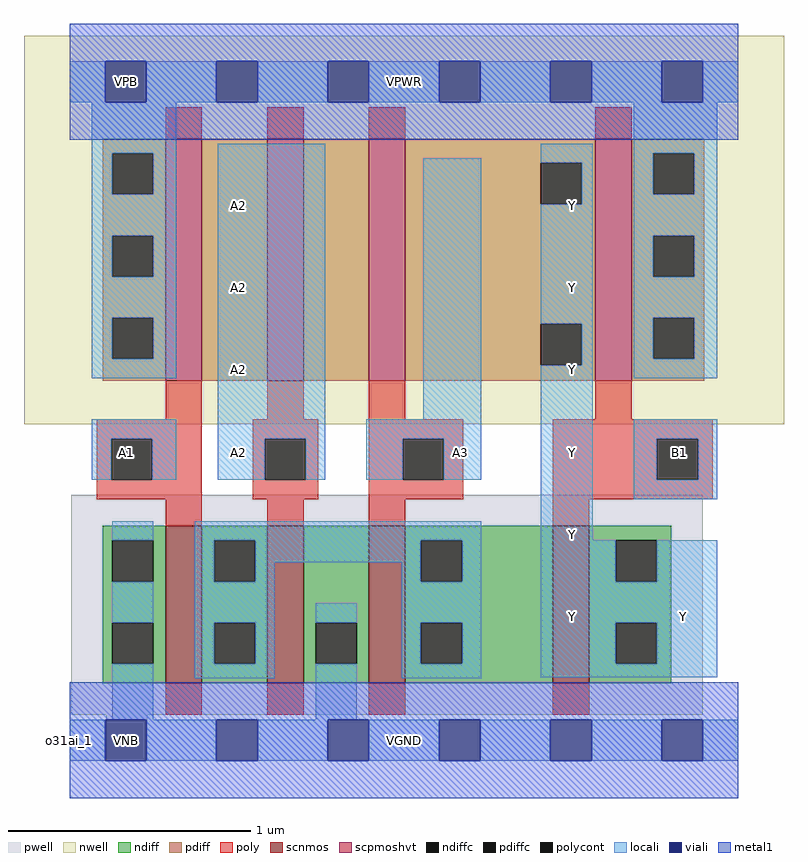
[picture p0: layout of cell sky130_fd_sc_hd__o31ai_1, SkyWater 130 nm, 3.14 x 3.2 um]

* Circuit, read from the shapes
.subckt sky130_fd_sc_hd__o31ai_1 A1 A2 A3 B1 VGND VNB VPB VPWR Y
XM1 n1 A1 VGND VNB sky130_fd_pr__nfet_01v8 w=0.65 l=0.15
XM2 VGND A2 n1 VNB sky130_fd_pr__nfet_01v8 w=0.65 l=0.15
XM3 n1 A3 VGND VNB sky130_fd_pr__nfet_01v8 w=0.65 l=0.15
XM4 Y B1 n1 VNB sky130_fd_pr__nfet_01v8 w=0.65 l=0.15
XM5 n2 A1 VPWR VPB sky130_fd_pr__pfet_01v8_hvt w=1 l=0.15
XM6 n3 A2 n2 VPB sky130_fd_pr__pfet_01v8_hvt w=1 l=0.15
XM7 Y A3 n3 VPB sky130_fd_pr__pfet_01v8_hvt w=1 l=0.15
XM8 VPWR B1 Y VPB sky130_fd_pr__pfet_01v8_hvt w=1 l=0.15
.ends

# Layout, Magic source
magic
tech sky130B
magscale 1 2
<< nwell >>
rect -38 261 590 582
<< pwell >>
rect 1 21 523 203
rect 30 -17 64 21
<< scnmos >>
rect 79 47 109 177
rect 163 47 193 177
rect 247 47 277 177
rect 399 47 429 177
<< scpmoshvt >>
rect 79 297 109 497
rect 163 297 193 497
rect 247 297 277 497
rect 434 297 464 497
<< ndiff >>
rect 27 165 79 177
rect 27 131 35 165
rect 69 131 79 165
rect 27 97 79 131
rect 27 63 35 97
rect 69 63 79 97
rect 27 47 79 63
rect 109 165 163 177
rect 109 131 119 165
rect 153 131 163 165
rect 109 97 163 131
rect 109 63 119 97
rect 153 63 163 97
rect 109 47 163 63
rect 193 97 247 177
rect 193 63 203 97
rect 237 63 247 97
rect 193 47 247 63
rect 277 165 399 177
rect 277 131 290 165
rect 324 131 399 165
rect 277 97 399 131
rect 277 63 290 97
rect 324 63 399 97
rect 277 47 399 63
rect 429 165 497 177
rect 429 131 451 165
rect 485 131 497 165
rect 429 97 497 131
rect 429 63 451 97
rect 485 63 497 97
rect 429 47 497 63
<< pdiff >>
rect 27 485 79 497
rect 27 451 35 485
rect 69 451 79 485
rect 27 417 79 451
rect 27 383 35 417
rect 69 383 79 417
rect 27 349 79 383
rect 27 315 35 349
rect 69 315 79 349
rect 27 297 79 315
rect 109 297 163 497
rect 193 297 247 497
rect 277 477 434 497
rect 277 443 389 477
rect 423 443 434 477
rect 277 344 434 443
rect 277 310 389 344
rect 423 310 434 344
rect 277 297 434 310
rect 464 485 524 497
rect 464 451 482 485
rect 516 451 524 485
rect 464 417 524 451
rect 464 383 482 417
rect 516 383 524 417
rect 464 349 524 383
rect 464 315 482 349
rect 516 315 524 349
rect 464 297 524 315
<< ndiffc >>
rect 35 131 69 165
rect 35 63 69 97
rect 119 131 153 165
rect 119 63 153 97
rect 203 63 237 97
rect 290 131 324 165
rect 290 63 324 97
rect 451 131 485 165
rect 451 63 485 97
<< pdiffc >>
rect 35 451 69 485
rect 35 383 69 417
rect 35 315 69 349
rect 389 443 423 477
rect 389 310 423 344
rect 482 451 516 485
rect 482 383 516 417
rect 482 315 516 349
<< poly >>
rect 79 497 109 523
rect 163 497 193 523
rect 247 497 277 523
rect 434 497 464 523
rect 79 265 109 297
rect 163 265 193 297
rect 247 265 277 297
rect 434 265 464 297
rect 22 249 109 265
rect 22 215 34 249
rect 68 215 109 249
rect 22 199 109 215
rect 151 249 205 265
rect 151 215 161 249
rect 195 215 205 249
rect 151 199 205 215
rect 247 249 325 265
rect 247 215 275 249
rect 309 215 325 249
rect 247 199 325 215
rect 399 249 531 265
rect 399 215 485 249
rect 519 215 531 249
rect 399 199 531 215
rect 79 177 109 199
rect 163 177 193 199
rect 247 177 277 199
rect 399 177 429 199
rect 79 21 109 47
rect 163 21 193 47
rect 247 21 277 47
rect 399 21 429 47
<< polycont >>
rect 34 215 68 249
rect 161 215 195 249
rect 275 215 309 249
rect 485 215 519 249
<< locali >>
rect 0 527 29 561
rect 63 527 121 561
rect 155 527 213 561
rect 247 527 305 561
rect 339 527 397 561
rect 431 527 489 561
rect 523 527 552 561
rect 18 485 88 527
rect 18 451 35 485
rect 69 451 88 485
rect 18 417 88 451
rect 18 383 35 417
rect 69 383 88 417
rect 18 349 88 383
rect 18 315 35 349
rect 69 315 88 349
rect 18 299 88 315
rect 18 249 88 265
rect 18 215 34 249
rect 68 215 88 249
rect 122 249 211 493
rect 292 265 340 481
rect 122 215 161 249
rect 195 215 211 249
rect 245 249 340 265
rect 245 215 275 249
rect 309 215 340 249
rect 389 477 432 493
rect 423 443 432 477
rect 389 344 432 443
rect 423 310 432 344
rect 35 165 69 181
rect 35 97 69 131
rect 35 17 69 63
rect 103 165 340 181
rect 103 131 119 165
rect 153 147 290 165
rect 153 131 169 147
rect 103 97 169 131
rect 274 131 290 147
rect 324 131 340 165
rect 103 63 119 97
rect 153 63 169 97
rect 103 51 169 63
rect 203 97 237 113
rect 203 17 237 63
rect 274 97 340 131
rect 274 63 290 97
rect 324 63 340 97
rect 274 51 340 63
rect 389 165 432 310
rect 466 485 535 527
rect 466 451 482 485
rect 516 451 535 485
rect 466 417 535 451
rect 466 383 482 417
rect 516 383 535 417
rect 466 349 535 383
rect 466 315 482 349
rect 516 315 535 349
rect 466 299 535 315
rect 466 249 535 265
rect 466 215 485 249
rect 519 215 535 249
rect 466 199 535 215
rect 389 131 451 165
rect 485 131 535 165
rect 389 97 535 131
rect 389 63 451 97
rect 485 63 535 97
rect 389 52 535 63
rect 0 -17 29 17
rect 63 -17 121 17
rect 155 -17 213 17
rect 247 -17 305 17
rect 339 -17 397 17
rect 431 -17 489 17
rect 523 -17 552 17
<< viali >>
rect 29 527 63 561
rect 121 527 155 561
rect 213 527 247 561
rect 305 527 339 561
rect 397 527 431 561
rect 489 527 523 561
rect 29 -17 63 17
rect 121 -17 155 17
rect 213 -17 247 17
rect 305 -17 339 17
rect 397 -17 431 17
rect 489 -17 523 17
<< metal1 >>
rect 0 561 552 592
rect 0 527 29 561
rect 63 527 121 561
rect 155 527 213 561
rect 247 527 305 561
rect 339 527 397 561
rect 431 527 489 561
rect 523 527 552 561
rect 0 496 552 527
rect 0 17 552 48
rect 0 -17 29 17
rect 63 -17 121 17
rect 155 -17 213 17
rect 247 -17 305 17
rect 339 -17 397 17
rect 431 -17 489 17
rect 523 -17 552 17
rect 0 -48 552 -17
<< labels >>
flabel locali s 398 85 432 119 0 FreeSans 200 0 0 0 Y
port 9 nsew signal output
flabel locali s 122 289 156 323 0 FreeSans 200 0 0 0 A2
port 2 nsew signal input
flabel locali s 398 153 432 187 0 FreeSans 200 0 0 0 Y
port 9 nsew signal output
flabel locali s 30 221 64 255 0 FreeSans 200 0 0 0 A1
port 1 nsew signal input
flabel locali s 122 221 156 255 0 FreeSans 200 0 0 0 A2
port 2 nsew signal input
flabel locali s 306 221 340 255 0 FreeSans 200 0 0 0 A3
port 3 nsew signal input
flabel locali s 487 221 521 255 0 FreeSans 200 0 0 0 B1
port 4 nsew signal input
flabel locali s 490 85 524 119 0 FreeSans 200 0 0 0 Y
port 9 nsew signal output
flabel locali s 122 425 156 459 0 FreeSans 200 0 0 0 A2
port 2 nsew signal input
flabel locali s 122 357 156 391 0 FreeSans 200 0 0 0 A2
port 2 nsew signal input
flabel locali s 398 221 432 255 0 FreeSans 200 0 0 0 Y
port 9 nsew signal output
flabel locali s 398 289 432 323 0 FreeSans 200 0 0 0 Y
port 9 nsew signal output
flabel locali s 398 357 432 391 0 FreeSans 200 0 0 0 Y
port 9 nsew signal output
flabel locali s 398 425 432 459 0 FreeSans 200 0 0 0 Y
port 9 nsew signal output
flabel nwell s 30 527 64 561 0 FreeSans 200 0 0 0 VPB
port 7 nsew power bidirectional
flabel pwell s 30 -17 64 17 0 FreeSans 200 0 0 0 VNB
port 6 nsew ground bidirectional
flabel metal1 s 30 527 64 561 0 FreeSans 200 0 0 0 VPWR
port 8 nsew power bidirectional abutment
flabel metal1 s 30 -17 64 17 0 FreeSans 200 0 0 0 VGND
port 5 nsew ground bidirectional abutment
rlabel comment s 0 0 0 0 4 o31ai_1
rlabel metal1 s 0 -48 552 48 1 VGND
port 5 nsew ground bidirectional abutment
rlabel metal1 s 0 496 552 592 1 VPWR
port 8 nsew power bidirectional abutment
<< properties >>
string FIXED_BBOX 0 0 552 544
string GDS_END 1425356
string GDS_FILE $PDKPATH/libs.ref/sky130_fd_sc_hd/gds/sky130_fd_sc_hd.gds
string GDS_START 1419082
string LEFclass CORE
string LEFsite unithd
string LEFsymmetry X Y R90
string path 0.000 0.000 2.760 0.000 
<< end >>
